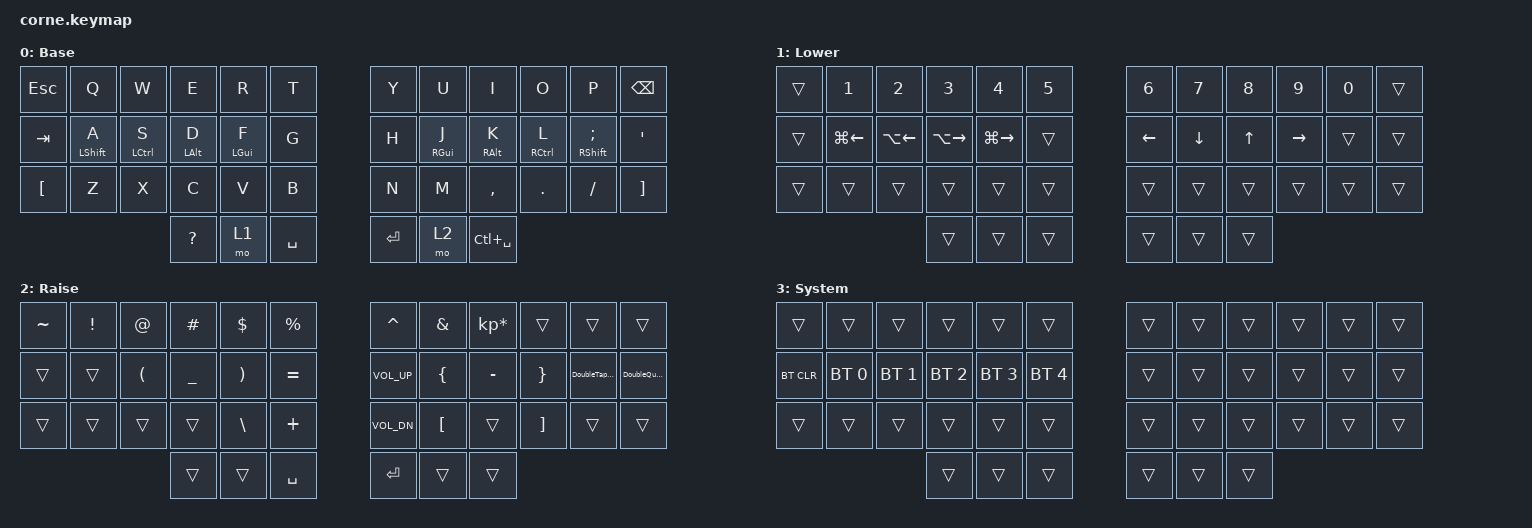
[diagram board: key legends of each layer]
/*
 * Copyright (c) 2020 The ZMK Contributors
 *
 * SPDX-License-Identifier: MIT
 */

#include <behaviors.dtsi>
#include <dt-bindings/zmk/bt.h>
#include <dt-bindings/zmk/keys.h>

/ {
    behaviors {
        HoldTapMode: HoldTapMode {
            compatible = "zmk,behavior-hold-tap";
            label = "HOLDTAPMODE";
            bindings = <&kp>, <&kp>;

            #binding-cells = <2>;
            tapping-term-ms = <280>;
            flavor = "tap-preferred";
            quick-tap-ms = <175>;
            require-prior-idle-ms = <150>;
        };

        DoubleTapSemi: DoubleTapSemi {
            compatible = "zmk,behavior-tap-dance";
            label = "DOUBLETAPSEMI";
            #binding-cells = <0>;
            bindings = <&kp COLON>, <&kp SEMICOLON>;

            tapping-term-ms = <250>;
        };

        DoubleQuots: DoubleQuots {
            compatible = "zmk,behavior-tap-dance";
            label = "DOUBLEQUOTS";
            #binding-cells = <0>;
            bindings = <&kp DOUBLE_QUOTES>, <&kp SQT>;

            tapping-term-ms = <250>;
        };
    };

    conditional_layers {
        compatible = "zmk,conditional-layers";

        system_layer {
            if-layers = <1 2>;
            then-layer = <3>;
        };
    };

    keymap {
        compatible = "zmk,keymap";

        default_layer {
            display-name = "Base";
            bindings = <
&kp ESCAPE        &kp Q                  &kp W                        &kp E                &kp R                &kp T        &kp Y    &kp U                &kp I                &kp O                 &kp P                    &kp BSPC
&kp TAB           &HoldTapMode LSHIFT A  &HoldTapMode LEFT_CONTROL S  &HoldTapMode LALT D  &HoldTapMode LGUI F  &kp G        &kp H    &HoldTapMode RGUI J  &HoldTapMode RALT K  &HoldTapMode RCTRL L  &HoldTapMode RSHFT SEMI  &kp SQT
&kp LEFT_BRACKET  &kp Z                  &kp X                        &kp C                &kp V                &kp B        &kp N    &kp M                &kp COMMA            &kp PERIOD            &kp FSLH                 &kp RIGHT_BRACKET
                                                                      &kp QUESTION         &mo 1                &kp SPACE    &kp RET  &mo 2                &kp LC(SPACE)
            >;
        };

        lower_layer {
            display-name = "Lower";
            bindings = <
&trans  &kp N1        &kp N2        &kp N3         &kp N4         &kp N5    &kp N6    &kp N7    &kp N8  &kp N9     &kp N0  &trans
&trans  &kp LG(LEFT)  &kp LA(LEFT)  &kp LA(RIGHT)  &kp LG(RIGHT)  &trans    &kp LEFT  &kp DOWN  &kp UP  &kp RIGHT  &trans  &trans
&trans  &trans        &trans        &trans         &trans         &trans    &trans    &trans    &trans  &trans     &trans  &trans
                                    &trans         &trans         &trans    &trans    &trans    &trans
            >;
        };

        raise_layer {
            display-name = "Raise";
            bindings = <
&kp TILDE  &kp EXCL  &kp AT    &kp HASH        &kp DLLR       &kp PRCNT    &kp CARET        &kp AMPS  &kp KP_MULTIPLY  &trans    &trans          &trans
&trans     &trans    &kp LPAR  &kp UNDERSCORE  &kp RPAR       &kp EQUAL    &kp C_VOLUME_UP  &kp LBRC  &kp MINUS        &kp RBRC  &DoubleTapSemi  &DoubleQuots
&trans     &trans    &trans    &trans          &kp BACKSLASH  &kp PLUS     &kp C_VOL_DN     &kp LBKT  &trans           &kp RBKT  &trans          &trans
                               &trans          &trans         &kp SPACE    &kp RET          &trans    &trans
            >;
        };

        system_layer {
            display-name = "System";
            bindings = <
&trans      &trans        &trans        &trans        &trans        &trans          &trans  &trans  &trans  &trans  &trans  &trans
&bt BT_CLR  &bt BT_SEL 0  &bt BT_SEL 1  &bt BT_SEL 2  &bt BT_SEL 3  &bt BT_SEL 4    &trans  &trans  &trans  &trans  &trans  &trans
&trans      &trans        &trans        &trans        &trans        &trans          &trans  &trans  &trans  &trans  &trans  &trans
                                        &trans        &trans        &trans          &trans  &trans  &trans
            >;
        };

        extra_2 { status = "reserved"; };

        extra_3 { status = "reserved"; };
    };
};
